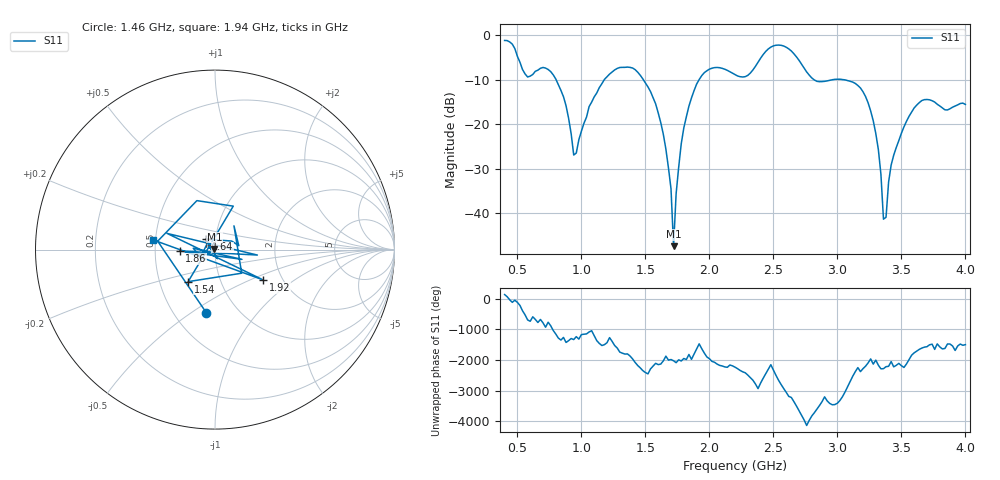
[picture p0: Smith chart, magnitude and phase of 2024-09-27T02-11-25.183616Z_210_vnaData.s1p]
!Created with skrf (http://scikit-rf.org).
# Hz S RI R 50.0
!freq ReS11 ImS11
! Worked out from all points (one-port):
!   181 points, 400 MHz to 4 GHz, reference 50 ohm
!   lowest |S11| = -47.3 dB at 1.72 GHz (marker M1), VSWR 1.01, Z = 49.7 + j0.304 ohm
!   |S11| at or under -10 dB: 802.3 MHz to 1.179 GHz (376.2 MHz wide, 38 % of centre); 1.484 GHz to 1.919 GHz (435.4 MHz wide, 25.6 % of centre); 3.051 GHz to end of sweep (the widest 3 of 4)
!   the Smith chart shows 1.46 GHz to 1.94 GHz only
!   S11 on the Smith chart (normalised r, x): 1.46 GHz: 0.71, -0.57; 1.54 GHz: 0.70, -0.26; 1.64 GHz: 0.90, +0.11; 1.86 GHz: 0.67, -0.01; 1.92 GHz: 1.60, -0.60; 1.94 GHz: 0.48, +0.06
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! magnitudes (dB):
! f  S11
! 400 MHz  -1.2
! 580 MHz  -9.4
! 740 MHz  -7.7
! 860 MHz  -13.8
! 940 MHz  -26.9
! 1.1 GHz  -13.8
! 1.3 GHz  -7.3
! 1.46 GHz  -9.0
! 1.54 GHz  -12.7
! 1.64 GHz  -22.2
! 1.7 GHz  -34.5
! 1.72 GHz  -47.3
! 1.76 GHz  -29.6
! 1.86 GHz  -14.1
! 1.92 GHz  -10.0
! 1.94 GHz  -9.1
! 2.2 GHz  -8.9
! 2.5 GHz  -2.4
! 2.66 GHz  -4.2
! 2.84 GHz  -10.4
! 3.1 GHz  -10.4
! 3.28 GHz  -19.2
! 3.32 GHz  -25.7
! 3.36 GHz  -41.3
! 3.38 GHz  -40.8
! 3.42 GHz  -29.1
! 3.56 GHz  -18.2
! 4 GHz  -15.5
